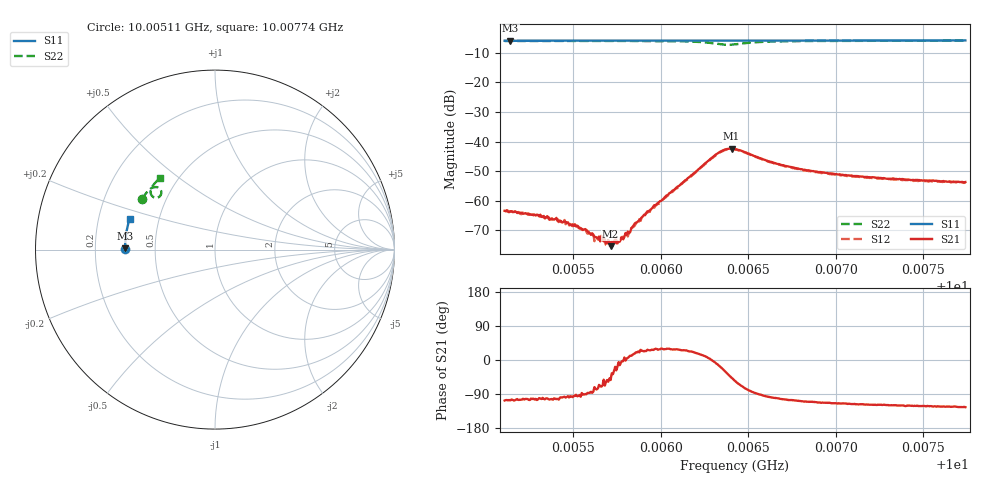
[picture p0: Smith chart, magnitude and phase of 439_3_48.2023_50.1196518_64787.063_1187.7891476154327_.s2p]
#  HZ  S  RI  R  50.00
! Rohde & Schwarz Vector Network Analyzer
! Rohde-Schwarz,ZNB20-2Port,1311601062101988,3.16
! Created: UTC 3/20/2024, 11:55:46 AM
! freq[Hz]  re:S11  im:S11  re:S21  im:S21  re:S12  im:S12  re:S22  im:S22
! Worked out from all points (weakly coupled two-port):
!   401 points, 10.00511 GHz to 10.00774 GHz, reference 50 ohm
!   highest |S21| = -42.38 dB at 10.0064 GHz (marker M1); lowest = -75.3 dB at 10.00571 GHz (marker M2)
!   lowest |S11| = -6.0 dB at 10.00514 GHz (marker M3), VSWR 3.00, Z = 16.7 + j0.283 ohm
!   |S11| at or under -10 dB: nowhere
!   |S22| runs from -7.4 to -6.0 dB; largest |S21 - S12| = 0.00045
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1.0005107e10  -0.5002 0.00413  -0.000197 -0.000649  -0.000123 -0.000666  -0.4056 0.2838
1.000514e10  -0.5001 0.00638  -0.000191 -0.000638  -0.000123 -0.000647  -0.4044 0.2857
1.0005292e10  -0.5002 0.0162  -0.000157 -0.000566  -0.000106 -0.000561  -0.3985 0.2946
1.000539e10  -0.5004 0.0227  -9.4e-05 -0.000473  -5.24e-05 -0.000505  -0.3943 0.3005
1.0005548e10  -0.4999 0.0329  1.73e-05 -0.000337  3.87e-05 -0.000322  -0.3875 0.3099
1.0005601e10  -0.5 0.0365  2.99e-05 -0.000265  2.24e-05 -0.000279  -0.3849 0.313
1.0005634e10  -0.4999 0.0384  5.1e-05 -0.000234  7.02e-05 -0.000229  -0.3834 0.315
1.0005667e10  -0.4996 0.0405  8.53e-05 -0.000201  0.000102 -0.000189  -0.3817 0.3172
1.0005693e10  -0.4996 0.0423  0.000116 -0.000152  0.000122 -0.000129  -0.3802 0.3189
1.0005713e10  -0.4997 0.0437  0.000104 -0.000137  0.000142 -0.000142  -0.379 0.32
1.0005753e10  -0.4994 0.0462  0.000195 -6.01e-05  0.000181 -6.29e-05  -0.3771 0.3224
1.0005772e10  -0.4994 0.0474  0.000239 -2.62e-05  0.000225 -3.47e-05  -0.3759 0.3238
1.0005904e10  -0.4986 0.0562  0.000533 0.000224  0.000518 0.000253  -0.3674 0.3323
1.000599e10  -0.4981 0.0617  0.000842 0.000446  0.000751 0.000478  -0.3604 0.3378
1.0006312e10  -0.4953 0.0823  0.00592 -0.000748  0.00579 -0.000447  -0.3019 0.331
1.0006358e10  -0.4947 0.085  0.00647 -0.0031  0.00646 -0.00273  -0.3 0.3095
1.0006404e10  -0.4944 0.0877  0.00518 -0.00557  0.00535 -0.00517  -0.3153 0.2914
1.0006424e10  -0.4944 0.0888  0.00425 -0.00615  0.00449 -0.00583  -0.3245 0.2886
1.0006655e10  -0.4925 0.1037  -0.00077 -0.00424  -0.000568 -0.00419  -0.3584 0.3291
1.0006865e10  -0.49 0.117  -0.0011 -0.00297  -0.000971 -0.00299  -0.3491 0.3515
1.0007307e10  -0.4835 0.1448  -0.00116 -0.00205  -0.00104 -0.00208  -0.3266 0.3793
1.0007741e10  -0.4754 0.1717  -0.00118 -0.00171  -0.00106 -0.00175  -0.3043 0.4002
